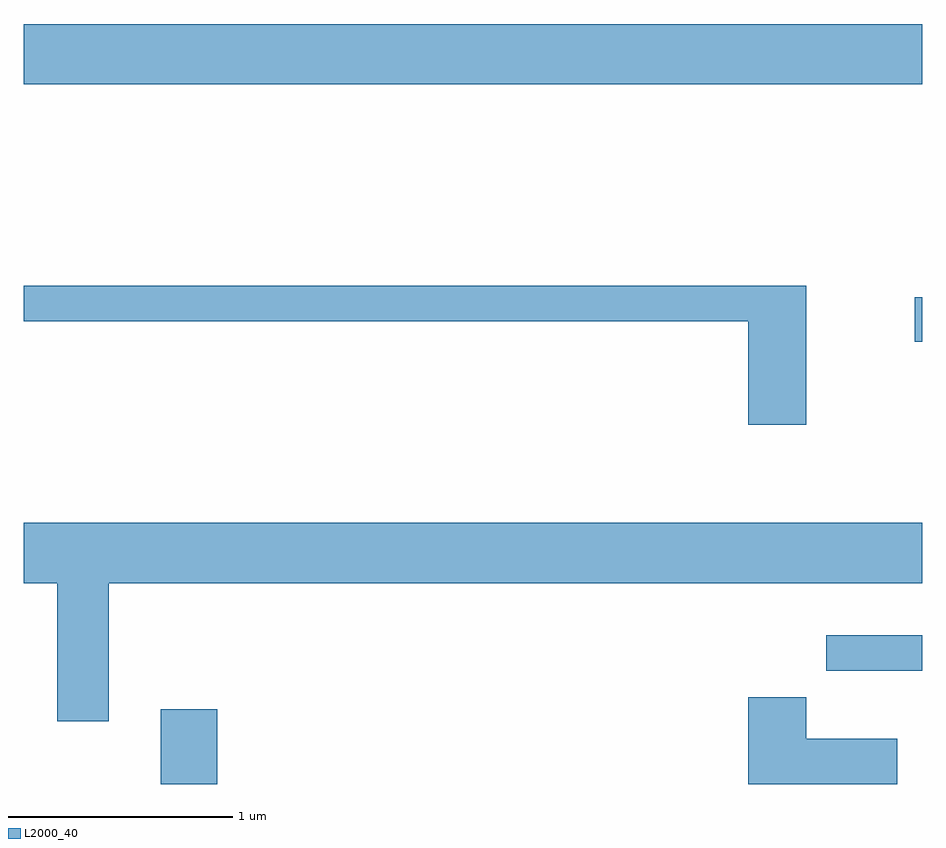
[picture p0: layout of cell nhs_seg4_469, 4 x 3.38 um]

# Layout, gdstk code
import gdstk
lib = gdstk.Library(unit=1e-6, precision=1e-09)
def R(c, l, rs):  # rectangles x0, y0, x1, y1
    for r in rs: c.add(gdstk.rectangle(r[:2], r[2:], *l))
def P(c, l, *ps):  # polygons
    for p in ps: c.add(gdstk.Polygon(p, *l))
L2000_40 = (2000, 40)

nhs_seg4_469 = lib.new_cell('nhs_seg4_469')
R(nhs_seg4_469, L2000_40, [(198.221,1375.982,198.474,1376.314), (201.183,1376.486,201.611,1376.644), (201.576,1377.951,201.611,1378.149), (197.611,1379.096,201.611,1379.364)])
P(nhs_seg4_469, L2000_40, [(201.094,1378.199),(197.611,1378.199),(197.611,1378.041),(200.836,1378.041),(200.836,1377.581),(201.094,1377.581)],
  [(197.989,1376.876),(201.611,1376.876),(201.611,1377.144),(197.611,1377.144),(197.611,1376.876),(197.761,1376.876),(197.761,1376.261),(197.989,1376.261)],
  [(201.499,1376.184),(201.094,1376.184),(201.094,1376.369),(200.836,1376.369),(200.836,1375.982),(201.499,1375.982)])

lib.write_gds('nhs_seg4_469.gds')
